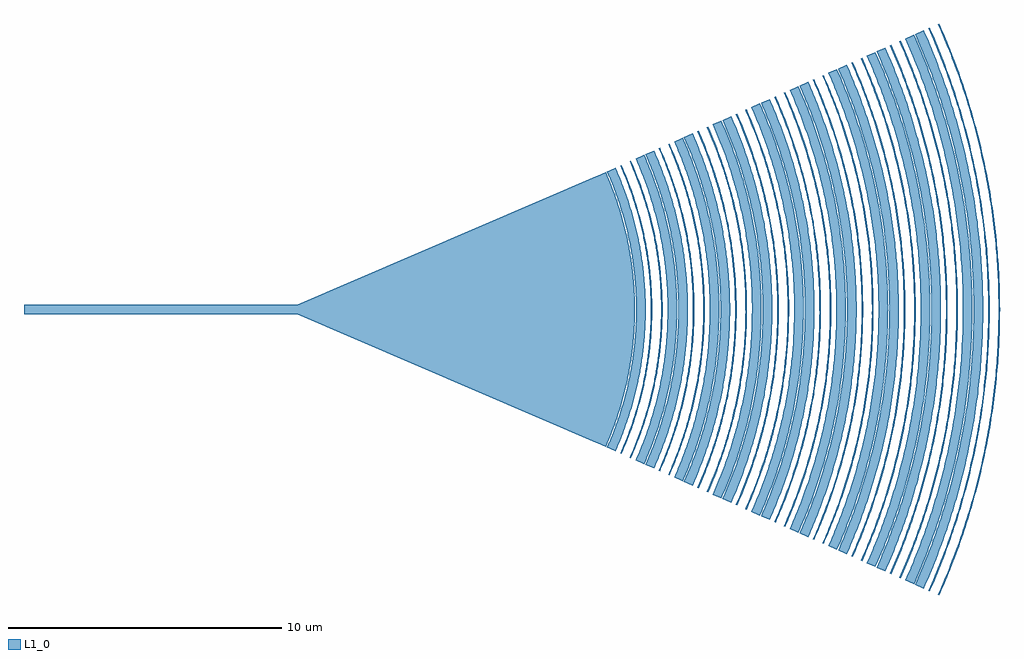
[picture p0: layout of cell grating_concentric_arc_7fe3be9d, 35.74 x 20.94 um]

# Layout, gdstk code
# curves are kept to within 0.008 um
from math import pi, radians
import gdstk
lib = gdstk.Library(unit=1e-6, precision=2e-09)
def R(c, l, rs):  # rectangles x0, y0, x1, y1
    for r in rs: c.add(gdstk.rectangle(r[:2], r[2:], *l))
def P(c, l, *ps):  # polygons
    for p in ps: c.add(gdstk.Polygon(p, *l))
L1_0 = (1, 0)

straight_4d0386df = lib.new_cell('straight_4d0386df')
R(straight_4d0386df, L1_0, [(0,-0.174,10,0.174)])

ring_e27fae22 = lib.new_cell('ring_e27fae22')
P(ring_e27fae22, L1_0, [(11,0),(10.982,0.64),(10.94,1.15),(10.844,1.848),(10.76,2.288),(10.626,2.848),(10.462,3.4),(10.27,3.942),(10.05,4.474),(9.802,4.994),(9.494,5.556),(9.226,5.992),(8.9,6.466),(8.468,7.022),(8.132,7.408),(7.688,7.868),(7.36,8.174),(8.276,9.192),(8.798,8.696),(9.096,8.384),(9.476,7.952),(10.008,7.27),(10.414,6.676),(10.784,6.06),(11.15,5.358),(11.33,4.966),(11.522,4.5),(11.696,4.028),(11.83,3.616),(11.948,3.202),(12.1,2.572),(12.24,1.792),(12.31,1.222),(12.34,0.862),(12.37,0)])

ring_343426ca = lib.new_cell('ring_343426ca')
P(ring_343426ca, L1_0, [(12.418,0),(12.404,0.578),(12.364,1.154),(12.276,1.872),(12.19,2.37),(12.066,2.934),(11.896,3.562),(11.764,3.974),(11.514,4.652),(11.224,5.314),(10.93,5.894),(10.718,6.272),(10.492,6.642),(10.13,7.182),(9.696,7.758),(9.18,8.362),(8.73,8.832),(8.308,9.228),(8.54,9.484),(9.13,8.92),(9.584,8.43),(10.104,7.8),(10.498,7.26),(10.902,6.638),(11.27,5.992),(11.568,5.394),(11.834,4.782),(12.116,4.014),(12.348,3.232),(12.436,2.872),(12.556,2.29),(12.668,1.556),(12.738,0.816),(12.764,0)])

ring_d6257fc0 = lib.new_cell('ring_d6257fc0')
P(ring_d6257fc0, L1_0, [(12.95,0),(12.94,0.528),(12.914,0.978),(12.888,1.278),(12.814,1.876),(12.754,2.248),(12.668,2.692),(12.51,3.352),(12.34,3.93),(12.144,4.5),(11.892,5.13),(11.64,5.678),(11.47,6.014),(11.29,6.344),(11.062,6.734),(10.862,7.054),(10.652,7.366),(10.252,7.914),(9.872,8.382),(9.574,8.722),(9.264,9.05),(8.888,9.42),(8.666,9.624),(8.7,9.662),(8.978,9.406),(9.248,9.14),(9.714,8.644),(10.152,8.124),(10.564,7.582),(10.946,7.018),(11.26,6.502),(11.62,5.836),(11.848,5.358),(12.112,4.73),(12.27,4.304),(12.39,3.946),(12.56,3.366),(12.67,2.924),(12.734,2.63),(12.818,2.184),(12.876,1.81),(12.932,1.36),(12.96,1.058),(12.992,0.53),(13.002,0)])

ring_8e676718 = lib.new_cell('ring_8e676718')
P(ring_8e676718, L1_0, [(13.33,0),(13.318,0.542),(13.272,1.238),(13.2,1.856),(13.07,2.62),(12.934,3.224),(12.834,3.6),(12.724,3.972),(12.578,4.412),(12.472,4.704),(12.208,5.35),(12.048,5.704),(11.912,5.982),(11.582,6.598),(11.304,7.064),(11.094,7.39),(10.918,7.646),(10.552,8.144),(10.16,8.628),(9.958,8.862),(9.588,9.26),(9.204,9.642),(8.918,9.906),(8.954,9.944),(9.352,9.572),(9.572,9.352),(9.892,9.012),(10.35,8.482),(10.826,7.866),(11.222,7.288),(11.43,6.958),(11.666,6.556),(11.958,6.006),(12.256,5.372),(12.548,4.65),(12.774,3.986),(12.884,3.614),(12.984,3.238),(13.136,2.554),(13.192,2.246),(13.262,1.786),(13.324,1.244),(13.354,0.856),(13.376,0.39),(13.382,0)])

ring_4ad67bc3 = lib.new_cell('ring_4ad67bc3')
P(ring_4ad67bc3, L1_0, [(13.568,0),(13.554,0.632),(13.51,1.262),(13.414,2.044),(13.304,2.666),(13.166,3.282),(12.976,3.966),(12.804,4.492),(12.49,5.302),(12.196,5.948),(11.868,6.578),(11.422,7.324),(11.024,7.912),(10.644,8.416),(10.136,9.02),(9.706,9.482),(9.078,10.084),(9.31,10.34),(9.896,9.782),(10.448,9.19),(10.864,8.694),(11.352,8.046),(11.8,7.374),(12.17,6.746),(12.542,6.026),(12.84,5.362),(13.13,4.606),(13.398,3.758),(13.594,2.972),(13.674,2.576),(13.79,1.856),(13.854,1.294),(13.886,0.89),(13.914,0)])

ring_875b92a9 = lib.new_cell('ring_875b92a9')
P(ring_875b92a9, L1_0, [(13.962,0),(13.954,0.488),(13.902,1.298),(13.826,1.944),(13.706,2.664),(13.528,3.456),(13.376,4.004),(13.202,4.546),(12.946,5.23),(12.62,5.974),(12.29,6.626),(11.884,7.33),(11.484,7.942),(11.102,8.468),(10.538,9.16),(9.93,9.814),(9.342,10.376),(9.574,10.632),(10.176,10.058),(10.744,9.45),(11.224,8.874),(11.768,8.138),(12.178,7.512),(12.594,6.79),(12.968,6.046),(13.266,5.36),(13.416,4.972),(13.608,4.422),(13.842,3.622),(14.012,2.894),(14.132,2.238),(14.18,1.908),(14.23,1.496),(14.284,0.832),(14.308,0)])

ring_0cc8d437 = lib.new_cell('ring_0cc8d437')
P(ring_0cc8d437, L1_0, [(14.494,0),(14.48,0.674),(14.454,1.096),(14.416,1.516),(14.33,2.184),(14.196,2.932),(14.044,3.588),(13.934,3.996),(13.812,4.398),(13.592,5.036),(13.31,5.742),(13.028,6.354),(12.678,7.028),(12.292,7.682),(11.874,8.314),(11.474,8.858),(11.05,9.382),(10.716,9.762),(10.368,10.13),(10.008,10.486),(9.698,10.772),(9.734,10.81),(10.166,10.406),(10.406,10.166),(10.81,9.734),(11.252,9.22),(11.514,8.89),(11.818,8.482),(12.246,7.852),(12.598,7.274),(12.962,6.604),(13.112,6.3),(13.324,5.84),(13.488,5.45),(13.67,4.976),(13.912,4.254),(14.094,3.602),(14.264,2.858),(14.326,2.526),(14.406,2.024),(14.468,1.52),(14.506,1.1),(14.538,0.508),(14.546,0)])

ring_1ef238a7 = lib.new_cell('ring_1ef238a7')
P(ring_1ef238a7, L1_0, [(14.874,0),(14.862,0.606),(14.81,1.382),(14.752,1.898),(14.704,2.242),(14.584,2.922),(14.432,3.598),(14.298,4.1),(14.198,4.432),(13.976,5.088),(13.822,5.492),(13.658,5.892),(13.444,6.364),(13.292,6.676),(12.924,7.362),(12.568,7.956),(12.184,8.532),(11.668,9.226),(11.226,9.758),(10.878,10.144),(10.518,10.518),(10.27,10.76),(9.952,11.054),(9.988,11.092),(10.492,10.616),(10.796,10.306),(11.092,9.988),(11.49,9.528),(11.762,9.19),(12.024,8.844),(12.47,8.202),(12.704,7.836),(12.97,7.388),(13.26,6.854),(13.528,6.308),(13.636,6.07),(13.806,5.672),(13.966,5.268),(14.222,4.53),(14.324,4.198),(14.44,3.78),(14.618,3.018),(14.756,2.25),(14.804,1.906),(14.876,1.214),(14.914,0.608),(14.926,0)])

ring_9cd0aa36 = lib.new_cell('ring_9cd0aa36')
P(ring_9cd0aa36, L1_0, [(15.112,0),(15.096,0.704),(15.048,1.404),(14.954,2.19),(14.818,2.97),(14.664,3.656),(14.478,4.334),(14.232,5.086),(13.946,5.824),(13.622,6.546),(13.218,7.326),(13,7.708),(12.722,8.158),(12.278,8.812),(11.69,9.578),(11.172,10.178),(10.562,10.81),(10.112,11.23),(10.344,11.488),(10.994,10.868),(11.608,10.21),(12.182,9.518),(12.612,8.94),(13.158,8.116),(13.564,7.416),(13.934,6.696),(14.3,5.874),(14.646,4.948),(14.908,4.088),(15.14,3.126),(15.296,2.24),(15.408,1.258),(15.45,0.54),(15.458,0)])

ring_17e90314 = lib.new_cell('ring_17e90314')
P(ring_17e90314, L1_0, [(15.506,0),(15.494,0.632),(15.448,1.352),(15.356,2.158),(15.222,2.958),(15.068,3.664),(14.906,4.274),(14.662,5.048),(14.378,5.808),(14.054,6.554),(13.692,7.28),(13.292,7.986),(13.054,8.37),(12.754,8.82),(12.492,9.188),(12.164,9.618),(11.644,10.24),(11.092,10.836),(10.376,11.524),(10.608,11.78),(11.21,11.21),(11.842,10.538),(12.144,10.19),(12.492,9.76),(12.986,9.092),(13.444,8.4),(13.82,7.766),(14.248,6.95),(14.628,6.108),(14.958,5.248),(15.264,4.28),(15.404,3.746),(15.506,3.296),(15.672,2.388),(15.756,1.748),(15.814,1.106),(15.846,0.462),(15.852,0)])

ring_df0a423b = lib.new_cell('ring_df0a423b')
P(ring_df0a423b, L1_0, [(16.04,0),(16.018,0.84),(15.994,1.212),(15.952,1.676),(15.884,2.232),(15.842,2.51),(15.708,3.244),(15.586,3.79),(15.444,4.332),(15.226,5.046),(15.008,5.66),(14.728,6.352),(14.416,7.032),(14.074,7.694),(13.652,8.42),(13.452,8.736),(13.192,9.124),(12.696,9.802),(12.226,10.382),(11.794,10.87),(11.408,11.276),(11.142,11.538),(10.732,11.92),(10.768,11.958),(11.246,11.51),(11.576,11.178),(11.958,10.768),(12.206,10.486),(12.564,10.054),(12.908,9.608),(13.128,9.306),(13.496,8.764),(13.646,8.528),(14.074,7.802),(14.422,7.138),(14.776,6.374),(15.056,5.68),(15.184,5.328),(15.332,4.884),(15.494,4.346),(15.614,3.892),(15.778,3.162),(15.894,2.518),(15.948,2.146),(16.004,1.682),(16.046,1.216),(16.082,0.562),(16.092,0)])

ring_7f6968c6 = lib.new_cell('ring_7f6968c6')
P(ring_7f6968c6, L1_0, [(16.418,0),(16.412,0.478),(16.396,0.86),(16.338,1.622),(16.272,2.19),(16.216,2.568),(16.152,2.944),(16.06,3.414),(15.954,3.88),(15.834,4.342),(15.644,4.982),(15.524,5.346),(15.362,5.794),(15.038,6.59),(14.84,7.024),(14.672,7.368),(14.36,7.96),(13.924,8.7),(13.718,9.022),(13.394,9.496),(13.17,9.804),(12.82,10.258),(12.328,10.844),(12.008,11.198),(11.61,11.61),(11.198,12.008),(10.986,12.2),(11.02,12.24),(11.372,11.914),(11.714,11.578),(12.304,10.95),(12.678,10.514),(12.92,10.216),(13.38,9.604),(13.708,9.13),(13.968,8.728),(14.312,8.152),(14.718,7.392),(14.968,6.874),(15.084,6.612),(15.342,5.992),(15.542,5.452),(15.694,4.998),(15.806,4.632),(15.958,4.078),(16.07,3.612),(16.168,3.142),(16.252,2.672),(16.31,2.292),(16.37,1.816),(16.416,1.34),(16.448,0.862),(16.47,0.096),(16.47,0)])

ring_8cdc7f72 = lib.new_cell('ring_8cdc7f72')
P(ring_8cdc7f72, L1_0, [(16.658,0),(16.64,0.774),(16.576,1.644),(16.482,2.414),(16.352,3.178),(16.186,3.936),(15.958,4.778),(15.686,5.606),(15.408,6.33),(15.056,7.128),(14.616,7.99),(14.178,8.744),(13.864,9.234),(13.588,9.634),(13.006,10.408),(12.444,11.074),(11.846,11.71),(11.502,12.05),(11.146,12.378),(11.378,12.636),(11.74,12.3),(12.162,11.882),(12.768,11.23),(13.338,10.546),(13.872,9.834),(14.42,9.01),(14.872,8.244),(15.326,7.364),(15.652,6.644),(16.012,5.722),(16.202,5.16),(16.372,4.592),(16.522,4.018),(16.632,3.536),(16.728,3.05),(16.824,2.464),(16.9,1.876),(16.962,1.186),(16.996,0.494),(17.004,0)])

ring_59ed0637 = lib.new_cell('ring_59ed0637')
P(ring_59ed0637, L1_0, [(17.05,0),(17.028,0.892),(16.968,1.684),(16.856,2.57),(16.738,3.254),(16.52,4.222),(16.306,4.986),(16.022,5.832),(15.696,6.662),(15.282,7.564),(14.816,8.44),(14.354,9.204),(13.852,9.942),(13.618,10.262),(13.188,10.808),(12.672,11.41),(12.196,11.916),(11.844,12.266),(11.41,12.672),(11.64,12.928),(12.302,12.302),(12.996,11.566),(13.584,10.87),(14.134,10.144),(14.7,9.304),(15.216,8.434),(15.68,7.536),(16.014,6.798),(16.242,6.234),(16.416,5.76),(16.576,5.28),(16.778,4.6),(16.928,4.012),(17.038,3.518),(17.198,2.622),(17.302,1.818),(17.354,1.214),(17.39,0.506),(17.396,0)])

ring_73c45693 = lib.new_cell('ring_73c45693')
P(ring_73c45693, L1_0, [(17.584,0),(17.576,0.512),(17.56,0.92),(17.534,1.328),(17.488,1.838),(17.44,2.244),(17.368,2.75),(17.28,3.254),(17.2,3.656),(17.062,4.254),(16.958,4.65),(16.724,5.434),(16.524,6.014),(16.416,6.302),(16.226,6.776),(16.064,7.152),(15.714,7.892),(15.478,8.346),(15.228,8.792),(14.858,9.404),(14.52,9.918),(14.226,10.336),(13.982,10.664),(13.666,11.066),(13.136,11.69),(12.93,11.918),(12.434,12.434),(11.766,13.068),(11.8,13.106),(12.176,12.758),(12.542,12.398),(12.898,12.028),(13.242,11.648),(13.576,11.258),(13.898,10.858),(14.388,10.2),(14.678,9.776),(14.902,9.432),(15.17,8.994),(15.374,8.64),(15.572,8.28),(15.806,7.824),(15.984,7.454),(16.194,6.986),(16.39,6.512),(16.572,6.032),(16.708,5.644),(16.866,5.156),(17.008,4.664),(17.112,4.266),(17.184,3.968),(17.312,3.366),(17.386,2.962),(17.492,2.252),(17.578,1.434),(17.612,0.922),(17.636,0.102),(17.636,0)])

ring_ceb4dfc7 = lib.new_cell('ring_ceb4dfc7')
P(ring_ceb4dfc7, L1_0, [(17.962,0),(17.958,0.418),(17.938,0.94),(17.912,1.358),(17.864,1.878),(17.816,2.292),(17.742,2.81),(17.592,3.632),(17.526,3.938),(17.378,4.548),(17.238,5.052),(17.116,5.452),(16.95,5.946),(16.77,6.438),(16.616,6.826),(16.41,7.306),(16.236,7.686),(16.052,8.062),(15.86,8.432),(15.556,8.982),(15.122,9.696),(14.774,10.218),(14.594,10.474),(14.282,10.894),(13.96,11.304),(13.488,11.864),(13.208,12.174),(12.776,12.628),(12.478,12.922),(12.02,13.348),(12.054,13.388),(12.438,13.032),(12.886,12.59),(13.458,11.976),(13.8,11.58),(14.066,11.256),(14.45,10.758),(14.636,10.504),(15.108,9.812),(15.388,9.368),(15.654,8.916),(16.004,8.272),(16.282,7.708),(16.5,7.232),(16.664,6.846),(16.856,6.358),(16.998,5.964),(17.196,5.368),(17.428,4.562),(17.576,3.95),(17.664,3.54),(17.776,2.922),(17.84,2.508),(17.916,1.884),(17.946,1.57),(17.99,0.942),(18.014,0.21),(18.014,0)])

ring_4c282768 = lib.new_cell('ring_4c282768')
P(ring_4c282768, L1_0, [(18.202,0),(18.182,0.846),(18.112,1.798),(18.01,2.638),(17.868,3.474),(17.686,4.3),(17.554,4.814),(17.406,5.322),(17.104,6.226),(16.796,7.014),(16.36,7.98),(15.92,8.824),(15.436,9.646),(14.91,10.44),(14.344,11.206),(13.668,12.022),(12.946,12.796),(12.18,13.526),(12.41,13.784),(13.116,13.116),(13.856,12.33),(14.482,11.588),(15.132,10.726),(15.614,10.012),(16.17,9.086),(16.376,8.708),(16.718,8.034),(17.074,7.248),(17.238,6.848),(17.502,6.14),(17.706,5.526),(17.888,4.904),(18.12,3.962),(18.32,2.902),(18.41,2.26),(18.486,1.508),(18.528,0.862),(18.548,0)])

ring_5e44438b = lib.new_cell('ring_5e44438b')
P(ring_5e44438b, L1_0, [(18.594,0),(18.57,0.974),(18.494,1.944),(18.398,2.696),(18.254,3.548),(18.068,4.394),(17.814,5.334),(17.474,6.36),(17.282,6.866),(17.074,7.366),(16.618,8.346),(16.158,9.204),(15.94,9.578),(15.596,10.128),(15.108,10.842),(14.452,11.702),(13.89,12.362),(13.224,13.072),(12.84,13.452),(12.442,13.818),(12.674,14.076),(13.394,13.394),(14.15,12.592),(14.72,11.92),(15.324,11.134),(15.886,10.316),(16.404,9.47),(16.672,8.99),(16.976,8.402),(17.436,7.4),(17.644,6.89),(17.836,6.374),(18.014,5.854),(18.208,5.22),(18.352,4.69),(18.528,3.938),(18.708,2.964),(18.8,2.308),(18.878,1.542),(18.926,0.772),(18.94,0)])

ring_59885824 = lib.new_cell('ring_59885824')
P(ring_59885824, L1_0, [(19.128,0),(19.126,0.334),(19.108,0.89),(19.046,1.778),(18.986,2.332),(18.91,2.882),(18.838,3.322),(18.756,3.758),(18.56,4.628),(18.418,5.166),(18.26,5.698),(18.086,6.228),(17.898,6.75),(17.736,7.166),(17.52,7.678),(17.336,8.084),(17.044,8.684),(16.784,9.176),(16.566,9.564),(16.28,10.042),(15.982,10.512),(15.54,11.152),(15.21,11.6),(14.936,11.952),(14.436,12.55),(14.066,12.964),(13.682,13.368),(13.288,13.76),(12.8,14.214),(12.834,14.254),(13.484,13.642),(13.874,13.244),(14.254,12.834),(14.476,12.584),(14.836,12.156),(15.046,11.896),(15.452,11.364),(15.776,10.91),(16.086,10.446),(16.324,10.07),(16.666,9.494),(17.09,8.708),(17.288,8.308),(17.522,7.802),(17.742,7.288),(17.946,6.77),(18.136,6.244),(18.242,5.926),(18.438,5.286),(18.556,4.856),(18.664,4.424),(18.784,3.878),(18.908,3.22),(18.962,2.89),(19.038,2.338),(19.108,1.672),(19.16,0.892),(19.178,0.334),(19.18,0)])

ring_5ed0ae3e = lib.new_cell('ring_5ed0ae3e')
P(ring_5ed0ae3e, L1_0, [(19.506,0),(19.502,0.454),(19.486,0.908),(19.452,1.474),(19.412,1.926),(19.348,2.49),(19.284,2.94),(19.19,3.5),(19.104,3.944),(18.982,4.498),(18.872,4.94),(18.622,5.812),(18.444,6.35),(18.292,6.778),(18.086,7.308),(17.912,7.726),(17.68,8.244),(17.482,8.654),(17.062,9.458),(16.778,9.95),(16.482,10.434),(16.236,10.814),(15.914,11.282),(15.372,12.01),(15.016,12.452),(14.648,12.884),(14.266,13.304),(13.794,13.794),(13.304,14.266),(13.052,14.496),(13.088,14.536),(13.75,13.91),(14.07,13.586),(14.536,13.088),(14.91,12.66),(15.272,12.22),(15.552,11.862),(15.824,11.496),(16.152,11.032),(16.466,10.556),(16.766,10.074),(16.996,9.68),(17.428,8.88),(17.678,8.368),(17.914,7.852),(18.26,7.01),(18.456,6.476),(18.602,6.044),(18.802,5.392),(18.922,4.952),(19.058,4.4),(19.178,3.844),(19.282,3.284),(19.384,2.61),(19.44,2.158),(19.494,1.592),(19.538,0.91),(19.558,0.228),(19.558,0)])

ring_290ce754 = lib.new_cell('ring_290ce754')
P(ring_290ce754, L1_0, [(19.746,0),(19.73,0.804),(19.698,1.378),(19.65,1.95),(19.538,2.862),(19.384,3.768),(19.16,4.776),(18.884,5.774),(18.556,6.754),(18.176,7.716),(17.748,8.656),(17.542,9.066),(17.158,9.774),(16.684,10.562),(16.37,11.042),(16.042,11.514),(15.418,12.338),(14.978,12.868),(14.598,13.298),(13.882,14.044),(13.212,14.674),(13.444,14.932),(14.208,14.208),(15.01,13.358),(15.688,12.554),(16.392,11.62),(16.722,11.138),(17.038,10.648),(17.342,10.148),(17.63,9.638),(17.902,9.122),(18.16,8.598),(18.54,7.742),(18.758,7.2),(18.998,6.542),(19.18,5.986),(19.346,5.426),(19.524,4.748),(19.628,4.292),(19.766,3.604),(19.844,3.144),(19.97,2.216),(20.026,1.634),(20.076,0.818),(20.092,0)])

ring_786c4c21 = lib.new_cell('ring_786c4c21')
P(ring_786c4c21, L1_0, [(20.14,0),(20.128,0.702),(20.106,1.172),(20.03,2.106),(19.892,3.15),(19.724,4.072),(19.484,5.1),(19.26,5.888),(19.004,6.668),(18.802,7.218),(18.584,7.762),(18.152,8.724),(17.782,9.454),(17.382,10.172),(17.08,10.672),(16.762,11.164),(16.43,11.648),(16.014,12.214),(15.578,12.766),(15.2,13.212),(14.73,13.736),(14.324,14.158),(13.99,14.488),(13.476,14.966),(13.708,15.224),(14.486,14.486),(15.224,13.708),(15.77,13.076),(16.07,12.706),(16.712,11.848),(17.31,10.956),(17.56,10.55),(17.974,9.828),(18.516,8.766),(18.904,7.894),(19.168,7.23),(19.37,6.67),(19.692,5.646),(19.906,4.84),(20.038,4.26),(20.234,3.204),(20.318,2.614),(20.418,1.666),(20.464,0.954),(20.486,0)])

ring_04ddfb5c = lib.new_cell('ring_04ddfb5c')
P(ring_04ddfb5c, L1_0, [(20.672,0),(20.664,0.602),(20.638,1.202),(20.614,1.562),(20.56,2.16),(20.472,2.878),(20.38,3.472),(20.196,4.416),(20.088,4.884),(19.968,5.35),(19.77,6.044),(19.624,6.502),(19.3,7.408),(19.122,7.856),(18.886,8.408),(18.684,8.846),(18.42,9.386),(18.022,10.128),(17.782,10.544),(17.338,11.26),(16.934,11.858),(16.724,12.152),(16.216,12.822),(15.914,13.196),(15.602,13.562),(15.282,13.922),(14.954,14.274),(14.618,14.618),(14.274,14.954),(13.832,15.362),(13.868,15.402),(14.31,14.992),(14.568,14.74),(14.992,14.31),(15.402,13.868),(15.72,13.506),(16.182,12.948),(16.552,12.472),(16.838,12.084),(17.382,11.288),(17.702,10.778),(18.008,10.258),(18.242,9.836),(18.52,9.302),(18.732,8.868),(18.982,8.32),(19.216,7.764),(19.434,7.202),(19.596,6.748),(19.748,6.29),(19.922,5.712),(20.05,5.248),(20.194,4.662),(20.344,3.954),(20.47,3.242),(20.54,2.764),(20.624,2.046),(20.666,1.566),(20.708,0.844),(20.724,0.242),(20.724,0)])

ring_f4e3107e = lib.new_cell('ring_f4e3107e')
P(ring_f4e3107e, L1_0, [(21.052,0),(21.046,0.49),(21.016,1.224),(20.992,1.59),(20.936,2.2),(20.88,2.688),(20.792,3.294),(20.688,3.896),(20.592,4.376),(20.456,4.974),(20.366,5.33),(20.202,5.92),(20.02,6.506),(19.824,7.084),(19.654,7.544),(19.426,8.112),(19.232,8.562),(18.812,9.448),(18.588,9.882),(18.292,10.42),(18.108,10.738),(17.788,11.26),(17.384,11.874),(17.174,12.174),(16.664,12.864),(16.204,13.438),(15.808,13.904),(15.48,14.268),(14.886,14.886),(14.536,15.228),(14.086,15.644),(14.12,15.682),(14.482,15.35),(14.836,15.008),(15.18,14.66),(15.6,14.212),(16.008,13.752),(16.478,13.186),(17,12.504),(17.356,12.004),(17.766,11.39),(18.026,10.974),(18.338,10.446),(18.634,9.908),(18.914,9.362),(19.178,8.808),(19.328,8.472),(19.52,8.02),(19.746,7.448),(19.914,6.986),(20.108,6.404),(20.252,5.934),(20.416,5.344),(20.562,4.748),(20.668,4.268),(20.844,3.302),(20.946,2.572),(21.012,1.962),(21.068,1.228),(21.098,0.492),(21.104,0)])

ring_90bc6936 = lib.new_cell('ring_90bc6936')
P(ring_90bc6936, L1_0, [(21.29,0),(21.262,1.114),(21.174,2.226),(21.048,3.208),(20.876,4.184),(20.628,5.27),(20.324,6.344),(19.964,7.398),(19.55,8.432),(19.136,9.334),(18.74,10.104),(18.25,10.966),(17.788,11.7),(17.44,12.212),(17.078,12.714),(16.624,13.302),(16.15,13.874),(15.656,14.43),(15.316,14.79),(14.79,15.316),(14.246,15.822),(14.478,16.078),(14.94,15.652),(15.3,15.3),(15.652,14.94),(16.078,14.478),(16.494,14.004),(16.894,13.518),(17.578,12.616),(17.938,12.098),(18.282,11.572),(18.546,11.144),(18.924,10.49),(19.502,9.372),(19.966,8.338),(20.2,7.754),(20.458,7.044),(20.654,6.446),(20.866,5.722),(21.138,4.622),(21.286,3.882),(21.39,3.26),(21.518,2.262),(21.584,1.51),(21.624,0.756),(21.636,0)])

ring_ccd404ce = lib.new_cell('ring_ccd404ce')
P(ring_ccd404ce, L1_0, [(21.684,0),(21.678,0.504),(21.648,1.26),(21.566,2.266),(21.436,3.268),(21.262,4.262),(21.1,5),(20.978,5.49),(20.7,6.46),(20.376,7.416),(20.01,8.356),(19.706,9.05),(19.49,9.506),(19.146,10.18),(18.716,10.952),(18.186,11.81),(17.762,12.438),(17.394,12.948),(17.01,13.45),(16.53,14.034),(16.114,14.51),(15.51,15.154),(14.972,15.686),(14.51,16.114),(14.74,16.372),(15.578,15.578),(16.372,14.74),(17.04,13.964),(17.438,13.462),(17.898,12.844),(18.546,11.89),(18.884,11.346),(19.206,10.792),(19.512,10.23),(19.744,9.772),(20.178,8.844),(20.378,8.372),(20.658,7.654),(20.912,6.93),(21.068,6.44),(21.28,5.702),(21.466,4.956),(21.626,4.204),(21.718,3.7),(21.85,2.812),(21.946,1.92),(22.012,0.896),(22.03,0)])

ring_dfb91234 = lib.new_cell('ring_dfb91234')
P(ring_dfb91234, L1_0, [(22.216,0),(22.208,0.646),(22.18,1.292),(22.144,1.808),(22.096,2.322),(22.036,2.836),(21.944,3.476),(21.834,4.112),(21.732,4.62),(21.648,4.998),(21.494,5.626),(21.284,6.372),(21.09,6.988),(20.878,7.598),(20.742,7.962),(20.5,8.562),(20.244,9.154),(19.796,10.086),(19.432,10.772),(19.176,11.22),(18.842,11.774),(18.562,12.208),(18.05,12.954),(17.666,13.474),(17.428,13.78),(17.102,14.182),(16.768,14.576),(16.336,15.058),(15.892,15.526),(15.434,15.982),(14.866,16.51),(14.9,16.55),(15.282,16.198),(15.654,15.838),(16.198,15.282),(16.55,14.9),(16.976,14.414),(17.388,13.914),(17.706,13.506),(18.016,13.09),(18.39,12.56),(18.606,12.236),(19.022,11.58),(19.286,11.134),(19.602,10.568),(19.842,10.11),(20.072,9.646),(20.344,9.058),(20.744,8.102),(21.014,7.372),(21.18,6.882),(21.334,6.386),(21.544,5.638),(21.698,5.01),(21.782,4.63),(21.908,3.994),(22.034,3.228),(22.134,2.456),(22.172,2.07),(22.232,1.294),(22.266,0.388),(22.268,0)])

ring_70d288fa = lib.new_cell('ring_70d288fa')
P(ring_70d288fa, L1_0, [(22.596,0),(22.59,0.526),(22.572,1.052),(22.532,1.708),(22.486,2.232),(22.428,2.754),(22.318,3.534),(22.23,4.054),(22.102,4.698),(21.86,5.722),(21.684,6.354),(21.53,6.858),(21.408,7.232),(21.188,7.852),(21,8.342),(20.696,9.07),(20.366,9.788),(20.192,10.14),(20.012,10.492),(19.634,11.184),(19.368,11.638),(19.022,12.196),(18.732,12.636),(18.434,13.068),(18.124,13.494),(17.806,13.912),(17.394,14.424),(17.054,14.824),(16.526,15.41),(15.978,15.978),(15.602,16.346),(15.12,16.792),(15.154,16.83),(15.542,16.474),(16.108,15.92),(16.654,15.35),(17.006,14.958),(17.35,14.558),(17.684,14.15),(18.088,13.63),(18.4,13.206),(18.702,12.774),(19.066,12.224),(19.344,11.778),(19.68,11.21),(20.18,10.282),(20.414,9.81),(20.69,9.212),(20.848,8.85),(21.144,8.116),(21.414,7.374),(21.58,6.874),(21.734,6.37),(21.91,5.734),(22.068,5.094),(22.18,4.58),(22.304,3.932),(22.39,3.412),(22.51,2.498),(22.562,1.974),(22.61,1.316),(22.642,0.526),(22.648,0)])

ring_83c1a252 = lib.new_cell('ring_83c1a252')
P(ring_83c1a252, L1_0, [(22.834,0),(22.826,0.664),(22.804,1.196),(22.724,2.254),(22.594,3.31),(22.488,3.966),(22.364,4.618),(22.124,5.654),(21.838,6.676),(21.458,7.81),(21.072,8.8),(20.582,9.89),(20.1,10.838),(19.574,11.76),(19.078,12.548),(18.706,13.098),(18.076,13.954),(17.662,14.474),(17.234,14.982),(16.7,15.574),(16.334,15.958),(15.958,16.334),(15.28,16.97),(15.51,17.226),(15.908,16.862),(16.392,16.392),(17.046,15.71),(17.406,15.31),(17.93,14.692),(18.35,14.166),(18.754,13.626),(19.442,12.626),(19.73,12.17),(20.142,11.474),(20.716,10.404),(21.066,9.674),(21.338,9.058),(21.642,8.308),(21.874,7.674),(22.246,6.52),(22.426,5.87),(22.616,5.084),(22.754,4.424),(22.874,3.76),(22.992,2.958),(23.104,1.886),(23.162,0.944),(23.18,0)])

ring_45ff5e40 = lib.new_cell('ring_45ff5e40')
P(ring_45ff5e40, L1_0, [(23.228,0),(23.222,0.54),(23.19,1.35),(23.102,2.428),(22.964,3.5),(22.776,4.564),(22.664,5.094),(22.506,5.75),(22.214,6.792),(21.874,7.818),(21.588,8.576),(21.382,9.076),(20.878,10.182),(20.382,11.142),(19.84,12.08),(19.258,12.99),(18.872,13.544),(18.388,14.194),(17.88,14.828),(17.53,15.24),(16.988,15.842),(16.52,16.33),(16.136,16.71),(15.542,17.262),(15.774,17.52),(16.178,17.148),(16.67,16.67),(17.242,16.078),(17.702,15.57),(18.492,14.622),(18.828,14.188),(19.232,13.634),(19.92,12.608),(20.278,12.024),(20.618,11.43),(21.128,10.458),(21.424,9.838),(21.7,9.212),(21.858,8.832),(22.2,7.934),(22.378,7.416),(22.662,6.498),(22.97,5.304),(23.088,4.768),(23.24,3.958),(23.382,3.01),(23.496,1.918),(23.56,0.822),(23.574,0)])

ring_073140b3 = lib.new_cell('ring_073140b3')
P(ring_073140b3, L1_0, [(23.762,0),(23.752,0.692),(23.722,1.382),(23.672,2.07),(23.632,2.484),(23.55,3.17),(23.468,3.718),(23.376,4.262),(23.214,5.076),(23.056,5.748),(22.916,6.284),(22.724,6.948),(22.556,7.474),(22.376,7.996),(22.184,8.516),(21.98,9.03),(21.764,9.538),(21.536,10.042),(21.172,10.788),(20.914,11.278),(20.578,11.88),(20.224,12.474),(19.928,12.942),(19.544,13.516),(19.224,13.966),(18.81,14.52),(18.466,14.954),(18.114,15.38),(17.842,15.692),(17.378,16.206),(16.9,16.704),(16.306,17.284),(15.9,17.658),(15.934,17.696),(16.342,17.322),(17.034,16.642),(17.322,16.342),(17.79,15.832),(18.242,15.306),(18.594,14.878),(18.85,14.552),(19.266,13.998),(19.586,13.546),(19.972,12.97),(20.34,12.384),(20.692,11.786),(21.026,11.18),(21.218,10.812),(21.524,10.19),(21.81,9.56),(22.08,8.92),(22.33,8.274),(22.516,7.752),(22.732,7.094),(22.89,6.564),(23.038,6.03),(23.204,5.356),(23.35,4.68),(23.452,4.136),(23.542,3.588),(23.636,2.902),(23.698,2.352),(23.774,1.384),(23.804,0.692),(23.814,0)])

ring_4eabde5a = lib.new_cell('ring_4eabde5a')
P(ring_4eabde5a, L1_0, [(24.14,0),(24.134,0.562),(24.108,1.264),(24.072,1.824),(24.008,2.524),(23.906,3.36),(23.798,4.054),(23.724,4.468),(23.584,5.156),(23.424,5.84),(23.318,6.248),(23.206,6.654),(23.002,7.326),(22.826,7.86),(22.536,8.652),(22.33,9.174),(22.054,9.818),(21.698,10.582),(21.51,10.96),(21.046,11.826),(20.692,12.434),(20.398,12.912),(20.014,13.5),(19.694,13.962),(19.28,14.528),(18.936,14.972),(18.582,15.41),(18.126,15.944),(17.656,16.464),(17.268,16.87),(16.77,17.366),(16.152,17.94),(16.188,17.978),(16.5,17.694),(17.006,17.206),(17.5,16.704),(17.978,16.188),(18.442,15.658),(18.712,15.334),(19.15,14.784),(19.572,14.22),(19.978,13.644),(20.29,13.176),(20.664,12.58),(21.022,11.974),(21.294,11.482),(21.556,10.984),(21.866,10.352),(22.158,9.712),(22.378,9.192),(22.636,8.538),(22.828,8.01),(23.052,7.342),(23.332,6.398),(23.508,5.716),(23.664,5.03),(23.8,4.34),(23.916,3.646),(24.012,2.948),(24.088,2.248),(24.152,1.406),(24.186,0.562),(24.192,0)])

ring_75b9c932 = lib.new_cell('ring_75b9c932')
P(ring_75b9c932, L1_0, [(24.38,0),(24.37,0.71),(24.346,1.276),(24.31,1.842),(24.246,2.548),(24.162,3.252),(24.08,3.814),(23.876,4.93),(23.656,5.898),(23.474,6.584),(23.272,7.264),(22.91,8.338),(22.442,9.526),(21.974,10.56),(21.392,11.696),(20.824,12.678),(20.212,13.632),(19.724,14.33),(19.298,14.898),(18.766,15.562),(18.4,15.994),(18.022,16.418),(17.438,17.038),(16.936,17.538),(16.312,18.118),(16.544,18.374),(17.072,17.886),(17.484,17.484),(18.278,16.652),(18.848,16.004),(19.216,15.56),(20.004,14.534),(20.418,13.946),(20.814,13.346),(21.12,12.858),(21.556,12.112),(21.832,11.608),(22.16,10.968),(22.704,9.794),(23.032,8.994),(23.234,8.456),(23.516,7.64),(23.728,6.954),(23.92,6.26),(24.092,5.562),(24.244,4.858),(24.35,4.294),(24.524,3.156),(24.632,2.154),(24.692,1.294),(24.724,0.288),(24.726,0)])

ring_7e4b251f = lib.new_cell('ring_7e4b251f')
P(ring_7e4b251f, L1_0, [(24.772,0),(24.746,1.152),(24.702,1.872),(24.638,2.59),(24.512,3.59),(24.422,4.16),(24.29,4.868),(24.202,5.292),(24.002,6.132),(23.814,6.828),(23.648,7.38),(23.424,8.066),(23.23,8.608),(22.804,9.68),(22.266,10.86),(21.806,11.758),(21.308,12.636),(20.932,13.25),(20.618,13.734),(20.042,14.562),(19.698,15.024),(19.162,15.702),(18.79,16.144),(18.314,16.684),(17.72,17.312),(17,18.02),(16.576,18.41),(16.808,18.666),(17.344,18.17),(17.968,17.554),(18.862,16.59),(19.336,16.034),(19.704,15.58),(20.408,14.646),(20.742,14.168),(21.146,13.558),(21.456,13.062),(21.898,12.306),(22.11,11.922),(22.512,11.142),(22.766,10.616),(23.064,9.95),(23.29,9.41),(23.604,8.592),(23.798,8.04),(24.064,7.204),(24.262,6.502),(24.442,5.792),(24.6,5.08),(24.738,4.362),(24.914,3.206),(25.024,2.19),(25.092,1.168),(25.118,0.146),(25.118,0)])

ring_0487be83 = lib.new_cell('ring_0487be83')
P(ring_0487be83, L1_0, [(25.306,0),(25.3,0.588),(25.272,1.324),(25.234,1.912),(25.168,2.646),(25.08,3.376),(24.994,3.958),(24.896,4.54),(24.784,5.118),(24.658,5.692),(24.482,6.408),(24.326,6.976),(24.068,7.82),(23.928,8.238),(23.678,8.932),(23.464,9.48),(23.178,10.158),(22.872,10.828),(22.68,11.226),(22.344,11.88),(22.062,12.398),(21.692,13.034),(21.304,13.658),(20.98,14.15),(20.56,14.756),(20.032,15.464),(19.666,15.926),(19.386,16.266),(18.904,16.824),(18.508,17.258),(17.998,17.79),(17.472,18.306),(16.932,18.806),(16.968,18.844),(17.508,18.344),(17.826,18.034),(18.344,17.508),(18.746,17.078),(19.426,16.3),(19.8,15.844),(20.252,15.26),(20.602,14.786),(20.94,14.302),(21.426,13.562),(21.812,12.934),(22.034,12.55),(22.25,12.164),(22.594,11.512),(22.92,10.85),(23.226,10.18),(23.512,9.5),(23.674,9.088),(23.928,8.396),(24.162,7.696),(24.376,6.99),(24.532,6.42),(24.708,5.704),(24.864,4.984),(24.998,4.258),(25.112,3.53),(25.204,2.798),(25.262,2.21),(25.324,1.328),(25.354,0.442),(25.358,0)])

ring_38f9fea9 = lib.new_cell('ring_38f9fea9')
P(ring_38f9fea9, L1_0, [(25.684,0),(25.678,0.598),(25.65,1.344),(25.612,1.94),(25.56,2.536),(25.494,3.13),(25.392,3.87),(25.268,4.608),(25.124,5.34),(24.958,6.068),(24.81,6.648),(24.606,7.366),(24.428,7.936),(24.286,8.362),(24.032,9.064),(23.758,9.76),(23.464,10.446),(23.086,11.26),(22.886,11.66),(22.608,12.19),(22.244,12.842),(21.86,13.484),(21.46,14.114),(21.21,14.486),(20.78,15.098),(20.332,15.696),(20.054,16.048),(19.58,16.624),(19.188,17.076),(18.682,17.626),(18.268,18.056),(17.734,18.58),(17.186,19.088),(17.222,19.126),(17.986,18.41),(18.618,17.77),(19.126,17.222),(19.522,16.772),(20.002,16.196),(20.464,15.608),(20.822,15.128),(21.168,14.64),(21.584,14.018),(21.984,13.384),(22.214,12.998),(22.51,12.478),(22.864,11.818),(23.198,11.148),(23.512,10.468),(23.806,9.78),(24.028,9.224),(24.236,8.662),(24.43,8.096),(24.656,7.382),(24.86,6.662),(25.008,6.08),(25.174,5.35),(25.32,4.616),(25.42,4.026),(25.526,3.286),(25.626,2.392),(25.694,1.496),(25.73,0.598),(25.736,0)])

grating_concentric_arc_7 = lib.new_cell('grating_concentric_arc_7fe3be9d')
P(grating_concentric_arc_7, L1_0, [(0,0.174),(0,-0.174),(10.962,-4.882),(11.202,-4.3),(11.412,-3.708),(11.59,-3.106),(11.738,-2.496),(11.852,-1.876),(11.934,-1.254),(11.984,-0.628),(12,0),(11.984,0.628),(11.934,1.254),(11.852,1.876),(11.738,2.496),(11.59,3.106),(11.412,3.708),(11.202,4.3),(10.962,4.882)])
grating_concentric_arc_7.add(gdstk.Reference(straight_4d0386df, (-10,0)))
grating_concentric_arc_7.add(gdstk.Reference(ring_e27fae22, (0,0), rotation=radians(336)))
grating_concentric_arc_7.add(gdstk.Reference(ring_343426ca, (0,0), rotation=radians(336)))
grating_concentric_arc_7.add(gdstk.Reference(ring_d6257fc0, (0,0), rotation=radians(336)))
grating_concentric_arc_7.add(gdstk.Reference(ring_8e676718, (0,0), rotation=radians(336)))
grating_concentric_arc_7.add(gdstk.Reference(ring_4ad67bc3, (0,0), rotation=radians(336)))
grating_concentric_arc_7.add(gdstk.Reference(ring_875b92a9, (0,0), rotation=radians(336)))
grating_concentric_arc_7.add(gdstk.Reference(ring_0cc8d437, (0,0), rotation=radians(336)))
grating_concentric_arc_7.add(gdstk.Reference(ring_1ef238a7, (0,0), rotation=radians(336)))
grating_concentric_arc_7.add(gdstk.Reference(ring_9cd0aa36, (0,0), rotation=radians(336)))
grating_concentric_arc_7.add(gdstk.Reference(ring_17e90314, (0,0), rotation=radians(336)))
grating_concentric_arc_7.add(gdstk.Reference(ring_df0a423b, (0,0), rotation=radians(336)))
grating_concentric_arc_7.add(gdstk.Reference(ring_7f6968c6, (0,0), rotation=radians(336)))
grating_concentric_arc_7.add(gdstk.Reference(ring_8cdc7f72, (0,0), rotation=radians(336)))
grating_concentric_arc_7.add(gdstk.Reference(ring_59ed0637, (0,0), rotation=radians(336)))
grating_concentric_arc_7.add(gdstk.Reference(ring_73c45693, (0,0), rotation=radians(336)))
grating_concentric_arc_7.add(gdstk.Reference(ring_ceb4dfc7, (0,0), rotation=radians(336)))
grating_concentric_arc_7.add(gdstk.Reference(ring_4c282768, (0,0), rotation=radians(336)))
grating_concentric_arc_7.add(gdstk.Reference(ring_5e44438b, (0,0), rotation=radians(336)))
grating_concentric_arc_7.add(gdstk.Reference(ring_59885824, (0,0), rotation=radians(336)))
grating_concentric_arc_7.add(gdstk.Reference(ring_5ed0ae3e, (0,0), rotation=radians(336)))
grating_concentric_arc_7.add(gdstk.Reference(ring_290ce754, (0,0), rotation=radians(336)))
grating_concentric_arc_7.add(gdstk.Reference(ring_786c4c21, (0,0), rotation=radians(336)))
grating_concentric_arc_7.add(gdstk.Reference(ring_04ddfb5c, (0,0), rotation=radians(336)))
grating_concentric_arc_7.add(gdstk.Reference(ring_f4e3107e, (0,0), rotation=radians(336)))
grating_concentric_arc_7.add(gdstk.Reference(ring_90bc6936, (0,0), rotation=radians(336)))
grating_concentric_arc_7.add(gdstk.Reference(ring_ccd404ce, (0,0), rotation=radians(336)))
grating_concentric_arc_7.add(gdstk.Reference(ring_dfb91234, (0,0), rotation=radians(336)))
grating_concentric_arc_7.add(gdstk.Reference(ring_70d288fa, (0,0), rotation=radians(336)))
grating_concentric_arc_7.add(gdstk.Reference(ring_83c1a252, (0,0), rotation=radians(336)))
grating_concentric_arc_7.add(gdstk.Reference(ring_45ff5e40, (0,0), rotation=radians(336)))
grating_concentric_arc_7.add(gdstk.Reference(ring_073140b3, (0,0), rotation=radians(336)))
grating_concentric_arc_7.add(gdstk.Reference(ring_4eabde5a, (0,0), rotation=radians(336)))
grating_concentric_arc_7.add(gdstk.Reference(ring_75b9c932, (0,0), rotation=radians(336)))
grating_concentric_arc_7.add(gdstk.Reference(ring_7e4b251f, (0,0), rotation=radians(336)))
grating_concentric_arc_7.add(gdstk.Reference(ring_0487be83, (0,0), rotation=radians(336)))
grating_concentric_arc_7.add(gdstk.Reference(ring_38f9fea9, (0,0), rotation=radians(336)))

lib.write_gds('grating_concentric_arc_7fe3be9d.gds')
